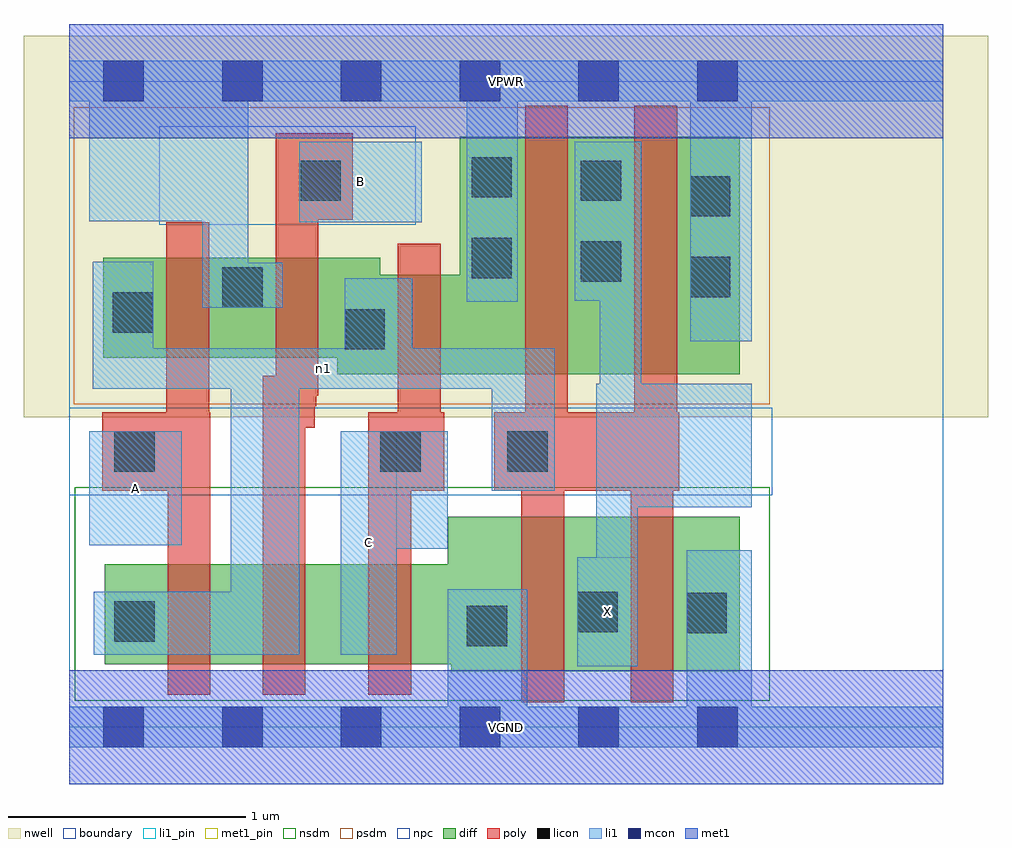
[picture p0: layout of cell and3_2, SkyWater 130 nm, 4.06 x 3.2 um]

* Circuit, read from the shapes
.subckt and3_2 A B C VGND VPWR X n1
XM1 n2 A n1 VSUBS sky130_fd_pr__nfet_01v8 w=0.42 l=0.18
XM2 n3 B n2 VSUBS sky130_fd_pr__nfet_01v8 w=0.42 l=0.18
XM3 VGND C n3 VSUBS sky130_fd_pr__nfet_01v8 w=0.42 l=0.18
XM4 X n1 VGND VSUBS sky130_fd_pr__nfet_01v8 w=0.65 l=0.18 m=2
XM5 VPWR A n1 n4 sky130_fd_pr__pfet_01v8 w=0.42 l=0.18
XM6 n1 B VPWR n4 sky130_fd_pr__pfet_01v8 w=0.42 l=0.18
XM7 VPWR C n1 n4 sky130_fd_pr__pfet_01v8 w=0.42 l=0.18
XM8 X n1 VPWR n4 sky130_fd_pr__pfet_01v8 w=1 l=0.18 m=2
.ends

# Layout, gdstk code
import gdstk
lib = gdstk.Library(unit=1e-6, precision=1e-09)
def R(c, l, rs):  # rectangles x0, y0, x1, y1
    for r in rs: c.add(gdstk.rectangle(r[:2], r[2:], *l))
def A(c, l, x, y, w, h, nx, ny, dx, dy):  # array of equal rectangles
    R(c, l, [(x+i*dx, y+j*dy, x+i*dx+w, y+j*dy+h) for i in range(nx) for j in range(ny)])
nwell = (64, 20)
diff = (65, 20)
poly = (66, 20)
licon = (66, 44)
li1_pin = (67, 16)
li1 = (67, 20)
mcon = (67, 44)
met1_pin = (68, 16)
met1 = (68, 20)
nsdm = (93, 44)
psdm = (94, 20)
npc = (95, 20)
boundary = (235, 4)

and3_2 = lib.new_cell('and3_2')
R(and3_2, nwell, [(-0.19,1.305,3.87,2.91), (0,1.305,3.68,2.91)])
R(and3_2, diff, [(1.61,0.235,2.825,0.885), (0.15,0.265,2.825,0.685), (1.595,0.265,2.825,0.885), (1.13,1.485,2.825,1.905), (1.645,1.485,2.825,2.485), (0.145,1.555,1.31,1.975)])
R(and3_2, poly, [(1.905,0.105,2.085,1.325), (2.365,0.105,2.545,1.325), (0.415,0.135,0.595,1.325), (0.815,0.135,0.995,1.48), (1.26,0.135,1.44,1.325), (0.14,0.995,0.595,1.325), (0.41,0.995,0.59,2.125), (1.26,0.995,1.58,1.325), (1.44,0.995,1.565,2.035), (1.79,0.995,2.57,1.325), (1.92,0.995,2.1,2.615), (2.38,0.995,2.56,2.615), (0.815,1.26,1.035,1.48), (1.385,1.325,1.565,2.035), (0.87,1.35,1.04,2.5), (0.87,1.395,1.05,2.5), (0.87,2.135,1.195,2.5)])
R(and3_2, licon, [(1.675,0.34,1.845,0.51), (0.19,0.36,0.36,0.53), (2.6,0.395,2.77,0.565), (2.14,0.4,2.31,0.57), (0.19,1.075,0.36,1.245), (1.31,1.075,1.48,1.245), (1.845,1.075,2.015,1.245), (1.16,1.59,1.33,1.76), (0.185,1.66,0.355,1.83), (0.645,1.765,0.815,1.935), (2.615,1.81,2.785,1.98), (2.155,1.875,2.325,2.045), (1.695,1.89,1.865,2.06), (2.615,2.15,2.785,2.32), (0.975,2.215,1.145,2.385), (2.155,2.215,2.325,2.385), (1.695,2.23,1.865,2.4)])
R(and3_2, li1_pin, [(2.14,0.255,2.395,0.715), (1.145,0.305,1.38,1.245), (0.085,0.765,0.475,1.245), (0.97,2.125,1.485,2.465)])
R(and3_2, li1, [(0,-0.085,3.68,0.085), (1.595,-0.085,1.93,0.58), (2.6,-0.085,2.875,0.745), (2.14,0.255,2.395,0.715), (2.22,0.255,2.395,1.445), (0.105,0.305,0.97,0.57), (0.68,0.305,0.97,1.595), (1.145,0.305,1.38,1.245), (1.145,0.75,1.595,1.245), (0.085,0.765,0.475,1.245), (2.22,0.925,2.875,1.445), (2.235,0.925,2.41,2.465), (1.78,0.995,2.045,1.595), (0.1,1.425,2.045,1.595), (0.1,1.425,0.355,1.96), (1.16,1.425,1.445,1.89), (2.615,1.625,2.875,2.805), (0.56,1.765,0.755,2.805), (0.56,1.765,0.9,1.955), (1.675,1.79,1.89,2.805), (2.13,1.795,2.41,2.465), (0.97,2.125,1.485,2.465), (0.085,2.13,0.755,2.635), (0,2.635,3.68,2.805)])
A(and3_2, mcon, 0.145, -0.085, 0.17, 0.17, 6, 2, 0.5, 2.72)
R(and3_2, met1_pin, [(0,-0.24,3.68,0.24), (0,2.48,3.68,2.96)])
R(and3_2, met1, [(0,-0.24,3.68,0.24), (0,2.48,3.68,2.96)])
R(and3_2, nsdm, [(0.025,0.11,2.95,1.01)])
R(and3_2, psdm, [(0.02,1.36,2.95,2.61)])
R(and3_2, npc, [(0,0.975,2.96,1.345), (0.38,2.115,1.46,2.53)])
R(and3_2, boundary, [(0,0,3.68,2.72)])
and3_2.add(gdstk.Label('A', (0.28,1.005), layer=67, texttype=5))
and3_2.add(gdstk.Label('B', (1.227,2.295), layer=67, texttype=5))
and3_2.add(gdstk.Label('C', (1.262,0.775), layer=67, texttype=5))
and3_2.add(gdstk.Label('X', (2.267,0.485), layer=67, texttype=5))
and3_2.add(gdstk.Label('n1', (1.072,1.51), layer=67, texttype=5))
and3_2.add(gdstk.Label('VPWR', (1.84,2.72), layer=68, texttype=5))
and3_2.add(gdstk.Label('VGND', (1.84,0), layer=68, texttype=5))
and3_2.add(gdstk.Label('A', (0.28,1.005), layer=67, texttype=16))
and3_2.add(gdstk.Label('B', (1.227,2.295), layer=67, texttype=16))
and3_2.add(gdstk.Label('C', (1.262,0.775), layer=67, texttype=16))
and3_2.add(gdstk.Label('X', (2.267,0.485), layer=67, texttype=16))
and3_2.add(gdstk.Label('VPWR', (1.84,2.72), layer=68, texttype=16))
and3_2.add(gdstk.Label('VGND', (1.84,0), layer=68, texttype=16))

lib.write_gds('and3_2.gds')
